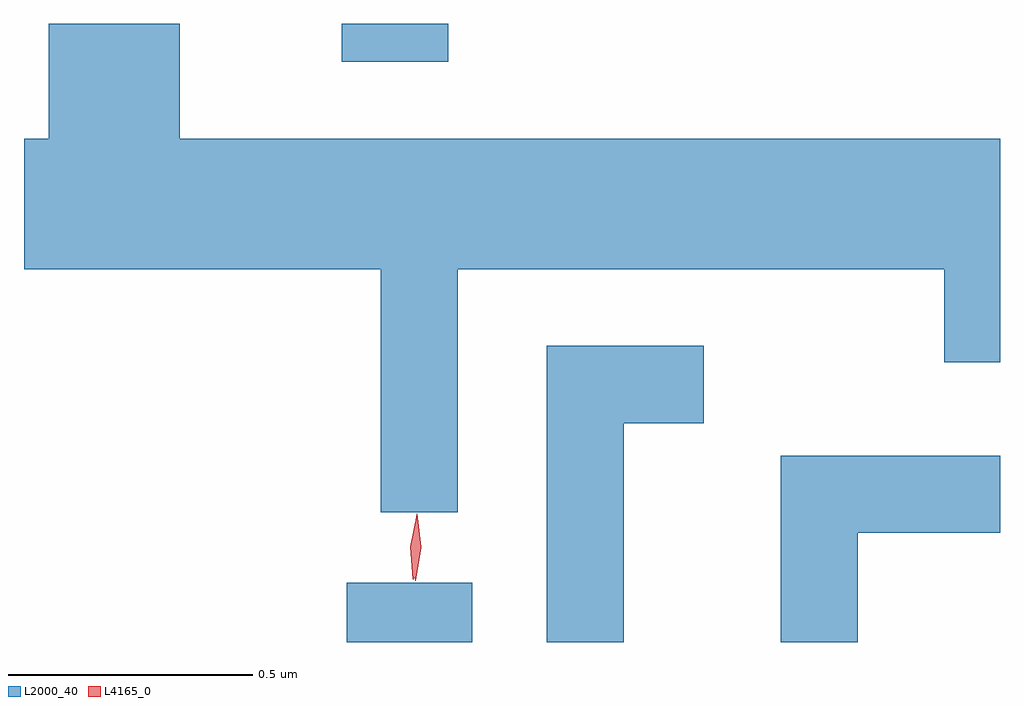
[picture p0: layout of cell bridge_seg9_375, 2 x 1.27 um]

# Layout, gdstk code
import gdstk
lib = gdstk.Library(unit=1e-6, precision=1e-09)
def R(c, l, rs):  # rectangles x0, y0, x1, y1
    for r in rs: c.add(gdstk.rectangle(r[:2], r[2:], *l))
def P(c, l, *ps):  # polygons
    for p in ps: c.add(gdstk.Polygon(p, *l))
L2000_40 = (2000, 40)
L4165_0 = (4165, 0)

bridge_seg9_375 = lib.new_cell('bridge_seg9_375')
R(bridge_seg9_375, L2000_40, [(757.336,1944.432,757.594,1944.554), (757.326,1945.621,757.544,1945.699)])
P(bridge_seg9_375, L2000_40, [(757.564,1945.196),(758.561,1945.196),(758.561,1945.006),(758.675,1945.006),(758.675,1945.464),(756.994,1945.464),(756.994,1945.699),(756.726,1945.699),(756.726,1945.464),(756.675,1945.464),(756.675,1945.196),(757.406,1945.196),(757.406,1944.698),(757.564,1944.698)],
  [(757.904,1944.881),(758.068,1944.881),(758.068,1945.039),(757.746,1945.039),(757.746,1944.432),(757.904,1944.432)],
  [(758.384,1944.656),(758.675,1944.656),(758.675,1944.814),(758.226,1944.814),(758.226,1944.432),(758.384,1944.432)])
P(bridge_seg9_375, L4165_0, [(757.477,1944.558),(757.47,1944.627),(757.48,1944.695),(757.481,1944.695),(757.481,1944.695),(757.489,1944.626),(757.478,1944.558),(757.478,1944.558)],
  [(757.472,1944.561),(757.467,1944.627),(757.48,1944.692),(757.481,1944.692),(757.481,1944.692),(757.487,1944.626),(757.474,1944.561),(757.473,1944.561)])

lib.write_gds('bridge_seg9_375.gds')
